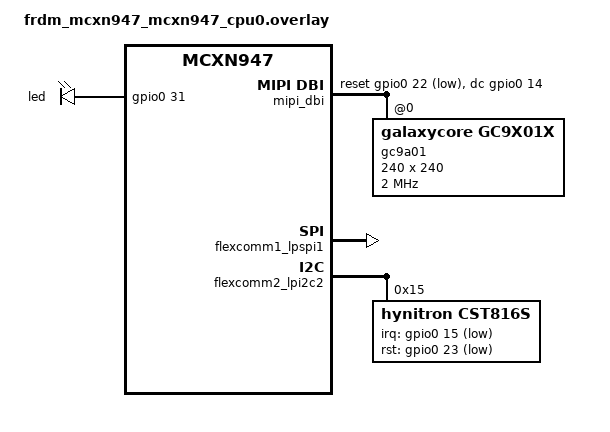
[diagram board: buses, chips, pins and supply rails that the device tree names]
#include <zephyr/dt-bindings/display/panel.h>
#include <freq.h>

/ {

    /* VCC J3.4 */
    /* GND J3.14 */

    chosen {
        zephyr,display = &gc9a01;
        zephyr,touch = &cst816s;
    };

    mipi_dbi {
        compatible = "zephyr,mipi-dbi-spi";
        status = "okay";
        spi-dev = <&flexcomm1_lpspi1>;
        dc-gpios = <&gpio0 14 GPIO_ACTIVE_HIGH>; /* J4.6 */
        reset-gpios = <&gpio0 22 GPIO_ACTIVE_LOW>; /* J4.8 */
        #address-cells = <1>;
        #size-cells = <0>;
        write-only;

        gc9a01: gc9a01@0 {
            /* SCK J2.12 */
            /* MOSI J2.10 */
            /* MISO not used (J2.8) GND (J2.14) */
            /* CS J2.6 */
            compatible = "galaxycore,gc9x01x";
            reg = <0>;
/*            mipi-max-frequency = <DT_FREQ_M(100)>;*/
/*            mipi-max-frequency = <15151515>;*/
            mipi-max-frequency = <DT_FREQ_M(2) >;
            pixel-format = <PANEL_PIXEL_FORMAT_RGB_565>;
            width = <240>;
            height = <240>;
            display-inversion;
//            mipi-cpol;
//            mipi-cpha;
//              mipi-hold-cs;
        };
    };

    lvgl_pointer {
        compatible = "zephyr,lvgl-pointer-input";
        status = "okay";
        input = <&cst816s>;
    };

    lcd_backlight {
        compatible = "gpio-leds";
        status = "okay";

        led: led {
            gpios = <&gpio0 31 GPIO_ACTIVE_HIGH>; /* J1.16 */
        };
    };
};

&flexcomm1_lpspi1 {
    status = "okay";
};

&flexcomm2_lpi2c2 {
    status = "okay";
    /* SDA J2.18 */
    /* SCL J2.20 */
    cst816s: cst816s@15 {
        compatible = "hynitron,cst816s";
        status = "okay";
        reg = <0x15>;
        irq-gpios = <&gpio0 15 GPIO_ACTIVE_LOW>; /* J4.10 */
        rst-gpios = <&gpio0 23 GPIO_ACTIVE_LOW>; /* J4.12 */
    };
};
